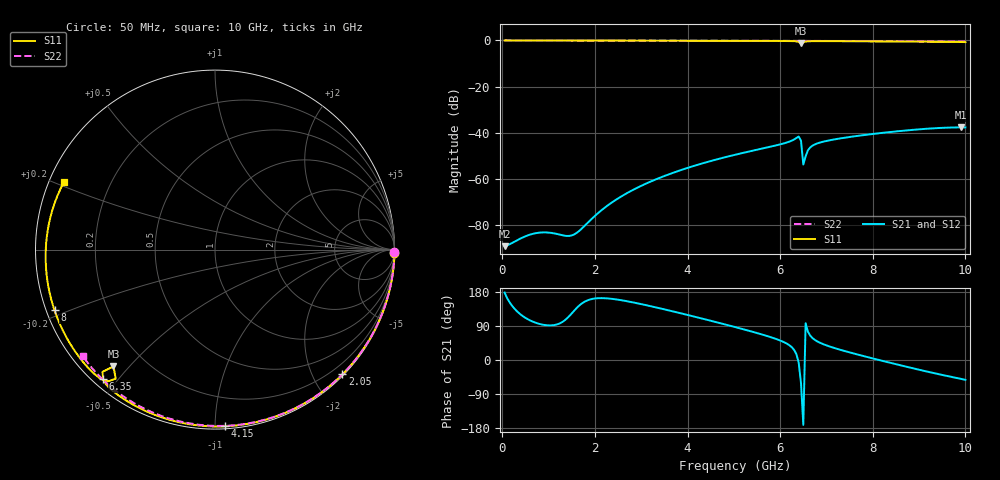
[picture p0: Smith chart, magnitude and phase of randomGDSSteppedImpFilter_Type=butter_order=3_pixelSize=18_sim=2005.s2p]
! freq	dB(S11)	phase(S11)	dB(S12)	phase(S12)
!  dB(S21)	phase(S21)	dB(S22)	phase(S22)
!S-par simulation data
#  GHz  S  DB  R 50
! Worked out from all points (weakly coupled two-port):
!   200 points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, 50 MHz to 10 GHz, reference 50 ohm
!   highest |S21| = -37.72 dB at 9.9 GHz (marker M1); lowest = -89.2 dB at 50 MHz (marker M2)
!   lowest |S11| = -1.3 dB at 6.45 GHz (marker M3), VSWR 13.48, Z = 4.47 - j22.6 ohm
!   |S11| at or under -10 dB: nowhere
!   |S22| runs from -0.5 to 0.0 dB; largest |S21 - S12| = 0
!   S11 on the Smith chart (normalised r, x): 50 MHz: open; 2.05 GHz: 0.02, -2.45; 4.15 GHz: 0.01, -1.06; 6.35 GHz: 0.03, -0.46; 8 GHz: 0.02, -0.18; 10 GHz: 0.04, +0.21
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0.05  -0.00 -1.1  -89.25 177.9  -89.25 177.9  -0.00 -0.8
0.85  -0.02 -18.7  -83.30 93.8  -83.30 93.8  -0.01 -13.8
1.75  -0.05 -38.0  -80.97 151.8  -80.97 151.8  -0.04 -28.2
1.8  -0.05 -39.1  -79.98 155.3  -79.98 155.3  -0.04 -29.0
2.05  -0.06 -44.4  -75.22 163.0  -75.22 163.0  -0.04 -32.9
2.65  -0.07 -56.8  -66.71 156.1  -66.71 156.1  -0.05 -42.2
3.4  -0.10 -72.0  -59.59 136.5  -59.59 136.5  -0.07 -53.6
4.15  -0.12 -86.8  -54.35 114.4  -54.35 114.4  -0.09 -64.6
5.05  -0.16 -104.0  -49.48 86.2  -49.48 86.2  -0.12 -77.4
6.05  -0.23 -123.3  -44.83 48.9  -44.83 48.9  -0.16 -91.0
6.35  -0.40 -130.8  -42.33 15.6  -42.33 15.6  -0.17 -95.0
6.4  -0.67 -132.6  -41.67 -6.8  -41.67 -6.8  -0.18 -95.7
6.45  -1.29 -131.0  -43.52 -60.9  -43.52 -60.9  -0.19 -96.3
6.5  -0.84 -127.6  -53.84 -171.1  -53.84 -171.1  -0.19 -97.0
6.6  -0.38 -130.7  -47.63 74.7  -47.63 74.7  -0.19 -98.3
6.7  -0.32 -133.3  -45.62 57.7  -45.62 57.7  -0.19 -99.6
7.1  -0.31 -141.6  -43.18 34.4  -43.18 34.4  -0.22 -104.8
8  -0.39 -159.3  -40.57 4.1  -40.57 4.1  -0.28 -116.2
8.35  -0.43 -166.3  -39.78 -6.6  -39.78 -6.6  -0.31 -120.6
9.15  -0.53 176.6  -38.33 -29.9  -38.33 -29.9  -0.38 -130.5
9.9  -0.68 158.7  -37.72 -49.7  -37.72 -49.7  -0.47 -139.9
10  -0.70 156.0  -37.73 -52.3  -37.73 -52.3  -0.48 -141.1
